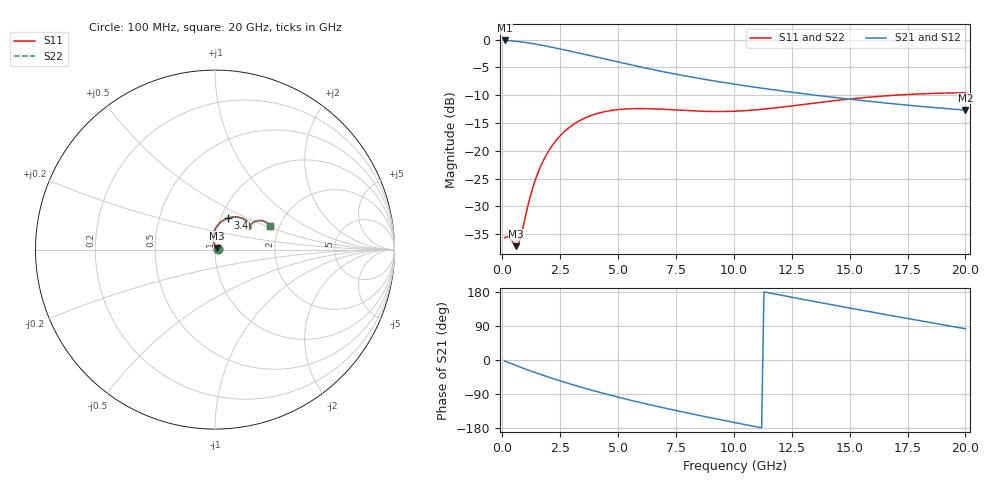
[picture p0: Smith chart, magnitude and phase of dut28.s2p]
! Touchstone file exported from HFSS 2023.1.0
!  File:  D:/Users/fzz/RDL_TSV/temp_RDL_TSV_28_1778743893.aedt
!  Generated:  3:41:34 %x4E0B%x5348  5%x6708 14, 2026
!  Design:  RDL_TSV
!  Project:  temp_RDL_TSV_28_1778743893
!  Setup:  Setup1
!  Solution:  Sweep
! Variables:
!  dtsv = 12.66um
!  hbump = 3um
!  htsv = 63.07um
!  ldown = 625.79um
!  lrdl = 620.86um
!  p = 40
!  p1 = 59.43um
!  rhole = 10um
!  subl = 4360.81um
!  t = 450um
!  tdown = 2.81um
!  trdl = 4.84um
!  viad = 10um
!  wdown = 24.63um
!  wrdl = 29.18um
!  xbump = 18um
# GHz S MA R 50.000000
! Terminal data exported
! Port[1] = TM1_1_T1
! Port[2] = TM1_4_T1
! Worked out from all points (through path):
!   200 points, 100 MHz to 20 GHz, reference 50 ohm
!   highest |S21| = -0.15 dB at 100 MHz (marker M1); lowest = -12.7 dB at 20 GHz (marker M2)
!   group delay of S21, straight-line fit = 36.3 ps
!   lowest |S11| = -37.2 dB at 600 MHz (marker M3), VSWR 1.03, Z = 51 + j1 ohm
!   |S11| at or under -10 dB: start of sweep to 16.96 GHz
!   |S22| runs from -37.2 to -9.6 dB; largest |S21 - S12| = 2.6e-15
!   S11 on the Smith chart (normalised r, x): 100 MHz: 1.03, +0.00; 3.4 GHz: 1.08, +0.39; 20 GHz: 1.77, +0.53
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0.1  0.01652 7.4  0.9829 -2.5  0.9829 -2.5  0.01652 7.4
! Gamma 0 0 0 0
! Port Impedance 50 0 50 0
0.3  0.0166 16.5  0.9777 -7.4  0.9777 -7.4  0.01661 16.5
0.6  0.01386 45.1  0.9658 -14.6  0.9658 -14.6  0.01386 45.1
0.7  0.01446 61.7  0.9608 -17.0  0.9608 -17.0  0.01446 61.6
0.8  0.01677 76.9  0.9553 -19.3  0.9553 -19.3  0.01676 76.9
1.1  0.0317 98.9  0.9362 -26.1  0.9362 -26.1  0.03167 98.9
1.4  0.05261 101.5  0.9143 -32.7  0.9143 -32.7  0.05258 101.5
1.8  0.08365 96.7  0.8826 -41.2  0.8826 -41.2  0.0836 96.7
2.1  0.1071 91.4  0.8577 -47.3  0.8577 -47.3  0.107 91.4
2.5  0.1365 83.7  0.8242 -55.1  0.8242 -55.1  0.1364 83.8
3.4  0.1896 67.6  0.7493 -71.7  0.7493 -71.7  0.1895 67.6
3.5  0.1942 66.0  0.7412 -73.5  0.7412 -73.5  0.1941 66.0
4.3  0.222 54.4  0.6787 -87.0  0.6787 -87.0  0.2219 54.4
5.1  0.2359 45.3  0.6218 -99.6  0.6218 -99.6  0.2359 45.3
5.9  0.2398 38.5  0.5712 -111.4  0.5712 -111.4  0.2398 38.5
6.8  0.2371 33.4  0.5219 -124.0  0.5219 -124.0  0.2371 33.4
8.3  0.228 30.3  0.4554 -143.6  0.4554 -143.6  0.228 30.3
10.1  0.2273 32.2  0.3953 -165.9  0.3953 -165.9  0.2273 32.2
11.8  0.2431 34.9  0.3517 173.8  0.3517 173.8  0.2431 34.8
13.4  0.2672 35.3  0.3186 155.3  0.3186 155.3  0.267 35.3
16.7  0.3136 30.5  0.2671 118.2  0.2671 118.2  0.3132 30.4
20  0.3324 23.6  0.2322 82.5  0.2322 82.5  0.3317 23.6
